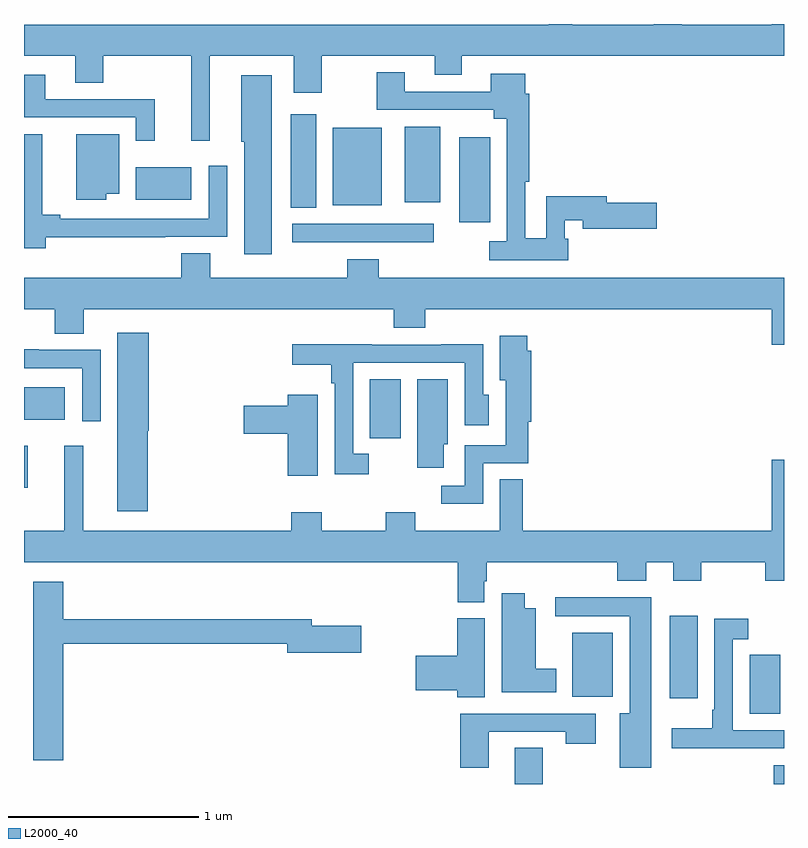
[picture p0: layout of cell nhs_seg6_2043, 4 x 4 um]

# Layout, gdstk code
import gdstk
lib = gdstk.Library(unit=1e-6, precision=1e-09)
def R(c, l, rs):  # rectangles x0, y0, x1, y1
    for r in rs: c.add(gdstk.rectangle(r[:2], r[2:], *l))
def P(c, l, *ps):  # polygons
    for p in ps: c.add(gdstk.Polygon(p, *l))
L2000_40 = (2000, 40)

nhs_seg6_2043 = lib.new_cell('nhs_seg6_2043')
R(nhs_seg6_2043, L2000_40, [(235.583,947.5,235.731,947.69), (236.945,947.5,237,947.599), (236.819,947.869,236.98,948.18), (236.399,947.952,236.545,948.385), (235.886,947.96,236.098,948.295), (233,949.059,233.021,949.279), (234.821,949.32,234.982,949.631), (233,949.418,233.215,949.588), (234.411,950.352,235.156,950.448), (235.292,950.457,235.453,950.905), (234.404,950.533,234.538,951.025), (234.626,950.546,234.883,950.953), (235.004,950.561,235.192,950.959), (233.588,950.576,233.881,950.746)])
P(nhs_seg6_2043, L2000_40, [(233.977,951.332),(234.419,951.332),(234.419,951.138),(234.567,951.138),(234.567,951.332),(235.163,951.332),(235.163,951.233),(235.303,951.233),(235.303,951.332),(237,951.332),(237,951.5),(236.936,951.5),(236.936,951.496),(236.463,951.496),(236.463,951.5),(236.315,951.5),(236.315,951.496),(235.885,951.496),(235.885,951.5),(235.763,951.5),(235.763,951.496),(233,951.496),(233,951.332),(233.27,951.332),(233.27,951.19),(233.418,951.19),(233.418,951.332),(233.879,951.332),(233.879,950.886),(233.977,950.886)],
  [(235.865,950.37),(235.845,950.37),(235.845,950.466),(235.94,950.466),(235.94,950.423),(236.329,950.423),(236.329,950.558),(236.068,950.558),(236.068,950.594),(235.749,950.594),(235.749,950.372),(235.638,950.372),(235.638,950.671),(235.658,950.671),(235.658,951.134),(235.639,951.134),(235.639,951.238),(235.457,951.238),(235.457,951.144),(235.003,951.144),(235.003,951.247),(234.856,951.247),(234.856,951.048),(235.472,951.048),(235.472,951.002),(235.542,951.002),(235.542,950.356),(235.449,950.356),(235.449,950.256),(235.865,950.256)],
  [(233.687,951.105),(233.113,951.105),(233.113,951.232),(233,951.232),(233,951.009),(233.589,951.009),(233.589,950.886),(233.687,950.886)],
  [(234.304,951.229),(234.143,951.229),(234.143,950.88),(234.158,950.88),(234.158,950.289),(234.304,950.289)],
  [(233.434,950.606),(233.5,950.606),(233.5,950.92),(233.276,950.92),(233.276,950.576),(233.434,950.576)],
  [(233.114,950.378),(233.744,950.378),(233.744,950.379),(234.069,950.379),(234.069,950.755),(233.973,950.755),(233.973,950.475),(233.191,950.475),(233.191,950.495),(233.096,950.495),(233.096,950.919),(233,950.919),(233,950.319),(233.114,950.319)],
  [(237,950.164),(234.866,950.164),(234.866,950.263),(234.701,950.263),(234.701,950.164),(233.98,950.164),(233.98,950.294),(233.828,950.294),(233.828,950.164),(233,950.164),(233,950),(233.162,950),(233.162,949.87),(233.314,949.87),(233.314,950),(234.947,950),(234.947,949.901),(235.112,949.901),(235.112,950),(236.936,950),(236.936,949.812),(237,949.812)],
  [(233.651,949.359),(233.656,949.359),(233.656,949.876),(233.492,949.876),(233.492,948.936),(233.651,948.936)],
  [(235.416,949.188),(235.654,949.188),(235.654,949.407),(235.67,949.407),(235.67,949.779),(235.649,949.779),(235.649,949.858),(235.505,949.858),(235.505,949.625),(235.535,949.625),(235.535,949.284),(235.32,949.284),(235.32,949.071),(235.197,949.071),(235.197,948.974),(235.416,948.974)],
  [(234.814,949.239),(234.732,949.239),(234.732,949.716),(235.32,949.716),(235.32,949.389),(235.447,949.389),(235.447,949.548),(235.416,949.548),(235.416,949.814),(235.195,949.814),(235.195,949.812),(234.829,949.812),(234.829,949.814),(234.411,949.814),(234.411,949.706),(234.616,949.706),(234.616,949.61),(234.636,949.61),(234.636,949.131),(234.814,949.131)],
  [(233.403,949.785),(233.078,949.785),(233.078,949.787),(233,949.787),(233,949.689),(233.307,949.689),(233.307,949.41),(233.403,949.41)],
  [(235.21,949.287),(235.231,949.287),(235.231,949.631),(235.07,949.631),(235.07,949.164),(235.21,949.164)],
  [(234.547,949.549),(234.389,949.549),(234.389,949.49),(234.156,949.49),(234.156,949.343),(234.389,949.343),(234.389,949.122),(234.547,949.122)],
  [(235.423,948.567),(235.436,948.567),(235.436,948.668),(236.123,948.668),(236.123,948.569),(236.275,948.569),(236.275,948.668),(236.417,948.668),(236.417,948.569),(236.565,948.569),(236.565,948.668),(236.902,948.668),(236.902,948.569),(237,948.569),(237,949.207),(236.936,949.207),(236.936,948.832),(235.624,948.832),(235.624,949.103),(235.505,949.103),(235.505,948.832),(235.059,948.832),(235.059,948.931),(234.904,948.931),(234.904,948.832),(234.567,948.832),(234.567,948.931),(234.407,948.931),(234.407,948.832),(233.312,948.832),(233.312,949.279),(233.213,949.279),(233.213,948.832),(233,948.832),(233,948.668),(235.283,948.668),(235.283,948.457),(235.423,948.457)],
  [(233.207,948.238),(234.386,948.238),(234.386,948.191),(234.775,948.191),(234.775,948.333),(234.514,948.333),(234.514,948.367),(233.207,948.367),(233.207,948.565),(233.048,948.565),(233.048,947.625),(233.207,947.625)],
  [(235.801,948.106),(235.693,948.106),(235.693,948.424),(235.636,948.424),(235.636,948.505),(235.514,948.505),(235.514,947.984),(235.801,947.984)],
  [(236.302,948.482),(235.797,948.482),(235.797,948.384),(236.189,948.384),(236.189,947.872),(236.135,947.872),(236.135,947.586),(236.302,947.586)],
  [(235.426,948.372),(235.28,948.372),(235.28,948.176),(235.062,948.176),(235.062,947.993),(235.28,947.993),(235.28,947.956),(235.426,947.956)],
  [(236.827,947.688),(237,947.688),(237,947.784),(236.73,947.784),(236.73,948.261),(236.812,948.261),(236.812,948.37),(236.634,948.37),(236.634,947.89),(236.622,947.89),(236.622,947.794),(236.409,947.794),(236.409,947.687),(236.827,947.687)],
  [(235.447,947.775),(235.852,947.775),(235.852,947.712),(236.008,947.712),(236.008,947.871),(235.295,947.871),(235.295,947.586),(235.447,947.586)])

lib.write_gds('nhs_seg6_2043.gds')
